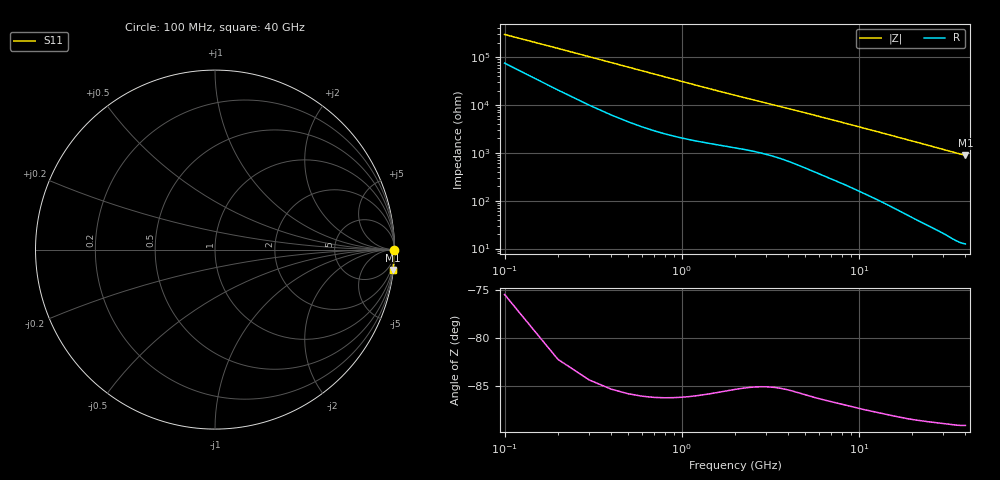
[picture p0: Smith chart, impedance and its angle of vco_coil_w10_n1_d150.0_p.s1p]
#  Hz  S  RI  R  50
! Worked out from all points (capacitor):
!   400 points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, 100 MHz to 40 GHz, reference 50 ohm
!   read as one part to ground: C = 5.19 fF near 300 MHz
!   lowest |Z| = 882 ohm at 40 GHz (marker M1)
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1e8  0.9999 -0.000325
3e8  0.9999 -0.000973
6e8  0.9999 -0.00194
9e8  0.9998 -0.0029
1.2e9  0.9997 -0.00383
1.6e9  0.9996 -0.00505
2.1e9  0.9994 -0.00653
2.7e9  0.9993 -0.00823
3.4e9  0.9991 -0.0102
4.1e9  0.999 -0.0121
5.1e9  0.9989 -0.0148
7.7e9  0.9986 -0.022
1.01e10  0.9983 -0.0287
1.25e10  0.998 -0.0354
1.51e10  0.9977 -0.0426
1.79e10  0.9973 -0.0504
2.01e10  0.997 -0.0566
2.26e10  0.9965 -0.0636
2.51e10  0.996 -0.0706
2.78e10  0.9955 -0.0782
3.01e10  0.9949 -0.0847
3.31e10  0.9942 -0.0932
3.41e10  0.9939 -0.096
3.51e10  0.9936 -0.0989
3.64e10  0.9932 -0.1026
3.76e10  0.9929 -0.106
3.87e10  0.9925 -0.1091
4e10  0.992 -0.1128
